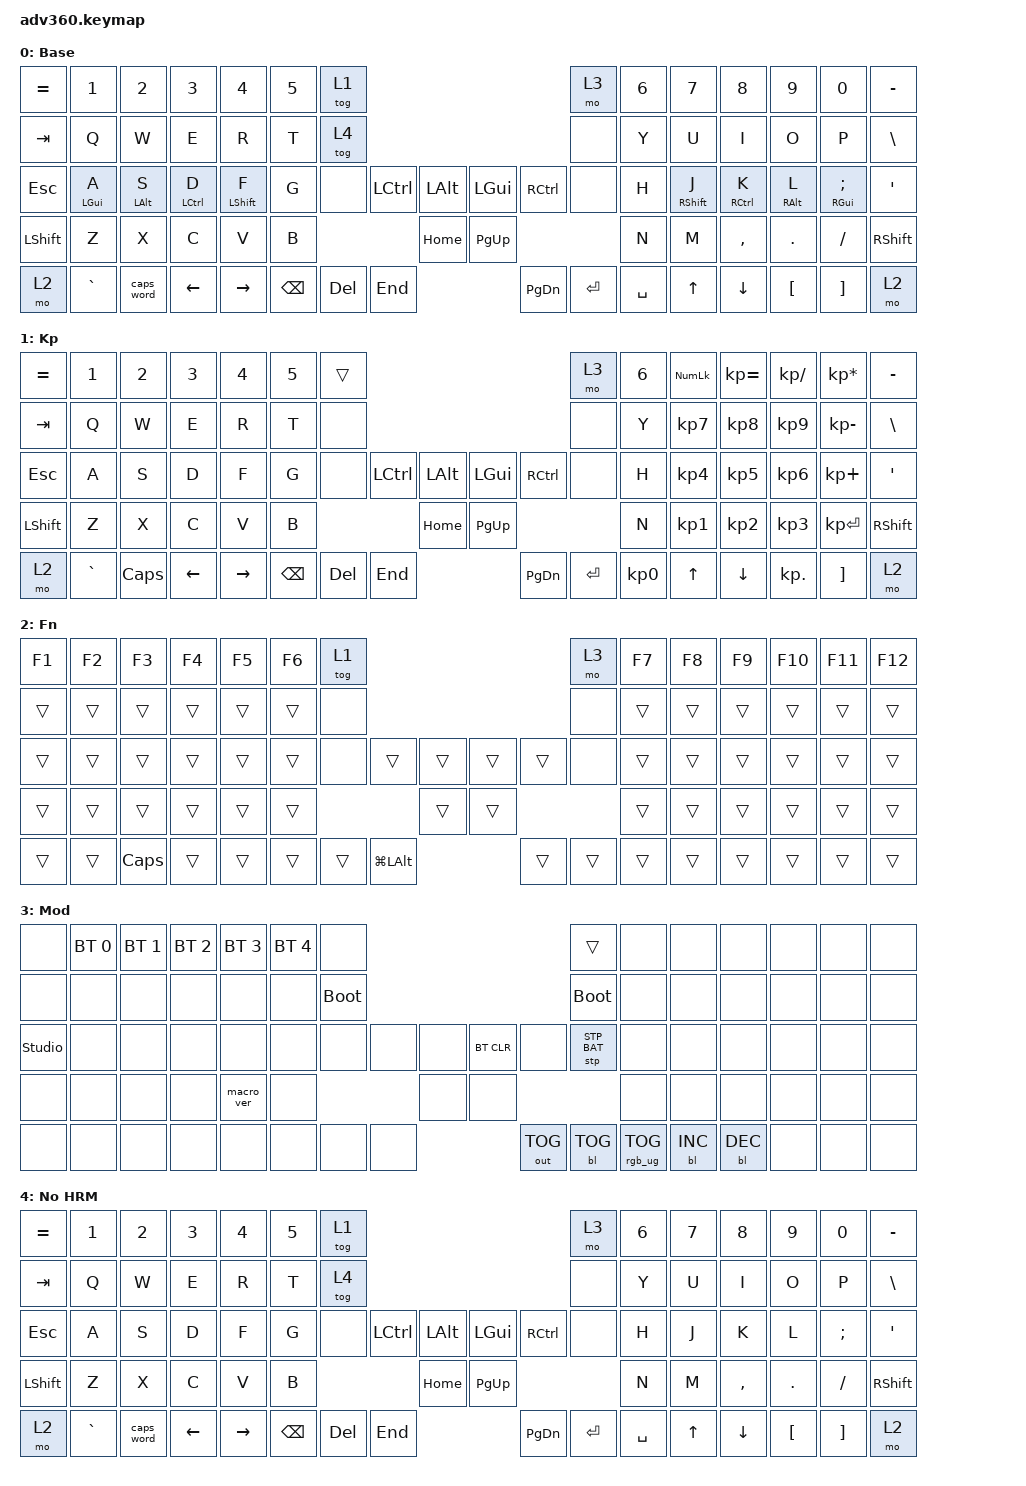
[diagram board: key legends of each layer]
#include <behaviors.dtsi>
#include <dt-bindings/zmk/keys.h>
#include <dt-bindings/zmk/bt.h>
#include <dt-bindings/zmk/rgb.h>
#include <dt-bindings/zmk/stp.h>
#include <dt-bindings/zmk/backlight.h>
#include <dt-bindings/zmk/pointing.h>
#include <dt-bindings/zmk/outputs.h>

#include "adv360_keys.h"

/ {
    behaviors {
      #include "macros.dtsi"
      #include "version.dtsi"

      hm: homerow_mods {
          compatible = "zmk,behavior-hold-tap";
          label = "HOMEROW_MODS";
          #binding-cells = <2>;
          tapping-term-ms = <200>;
          quick_tap_ms = <175>;
          flavor = "tap-preferred";
          bindings = <&kp>, <&kp>;
      };

      hml: homerow_mods_left {
          compatible = "zmk,behavior-hold-tap";
          display-name = "Home Row Mod L";
          #binding-cells = <2>;
          flavor = "balanced";
          tapping-term-ms = <300>;
          quick-tap-ms = <175>;
          require-prior-idle-ms = <150>;
          hold-trigger-key-positions = <RIGHT_KEYS THUMB_KEYS>;
          hold-trigger-on-release;
          bindings = <&kp>, <&kp>;
      };

      hmr: homerow_mods_right {
          compatible = "zmk,behavior-hold-tap";
          display-name = "Home Row Mod R";
          #binding-cells = <2>;
          flavor = "balanced";
          tapping-term-ms = <300>;
          quick-tap-ms = <175>;
          require-prior-idle-ms = <150>;
          hold-trigger-key-positions = <LEFT_KEYS THUMB_KEYS>;
          hold-trigger-on-release;
          bindings = <&kp>, <&kp>;
      };
    };

  keymap {
    compatible = "zmk,keymap";

    default_layer {
      display-name = "Base";
      bindings = <
        &kp EQUAL &kp N1      &kp N2      &kp N3       &kp N4       &kp N5 &tog 1                                                                    &mo 3 &kp N6 &kp N7       &kp N8       &kp N9      &kp N0         &kp MINUS
        &kp TAB   &kp Q       &kp W       &kp E        &kp R        &kp T  &tog 4                                                                    &none &kp Y  &kp U        &kp I        &kp O       &kp P          &kp BSLH
        &kp ESC   &hml LGUI A &hml LALT S &hml LCTRL D &hml LSHFT F &kp G  &none              &kp LCTRL &kp LALT    &kp LGUI  &kp RCTRL              &none &kp H  &hmr RSHFT J &hmr RCTRL K &hmr RALT L &hmr RGUI SEMI &kp SQT
        &kp LSHFT &kp Z       &kp X       &kp C        &kp V        &kp B                               &kp HOME    &kp PG_UP                              &kp N  &kp M        &kp COMMA    &kp DOT     &kp FSLH       &kp RSHFT
        &mo 2     &kp GRAVE   &caps_word  &kp LEFT     &kp RIGHT                     &kp BSPC &kp DEL   &kp END     &kp PG_DN &kp ENTER &kp SPACE                 &kp UP       &kp DOWN     &kp LBKT    &kp RBKT       &mo 2
      >;
    };
    keypad {
      display-name = "Kp";
      bindings = <
        &kp EQUAL &kp N1    &kp N2   &kp N3   &kp N4     &kp N5 &trans                                                           &mo 3 &kp N6 &kp KP_NUM &kp KP_EQUAL &kp KP_DIVIDE &kp KP_MULTIPLY &kp MINUS
        &kp TAB   &kp Q     &kp W    &kp E    &kp R      &kp T  &none                                                            &none &kp Y  &kp KP_N7  &kp KP_N8    &kp KP_N9     &kp KP_MINUS    &kp BSLH
        &kp ESC   &kp A     &kp S    &kp D    &kp F      &kp G  &none           &kp LCTRL &kp LALT &kp LGUI  &kp RCTRL           &none &kp H  &kp KP_N4  &kp KP_N5    &kp KP_N6     &kp KP_PLUS     &kp SQT
        &kp LSHFT &kp Z     &kp X    &kp C    &kp V      &kp B                            &kp HOME &kp PG_UP                           &kp N  &kp KP_N1  &kp KP_N2    &kp KP_N3     &kp KP_ENTER    &kp RSHFT
        &mo 2     &kp GRAVE &kp CAPS &kp LEFT &kp RIGHT                &kp BSPC &kp DEL   &kp END  &kp PG_DN &kp ENTER &kp KP_N0              &kp UP     &kp DOWN     &kp KP_DOT    &kp RBKT        &mo 2
      >;
    };
    fn {
      display-name = "Fn";
      bindings = <
        &kp F1 &kp F2 &kp F3   &kp F4 &kp F5 &kp F6 &tog 1                                                          &mo 3 &kp F7 &kp F8 &kp F9 &kp F10 &kp F11 &kp F12
        &trans &trans &trans   &trans &trans &trans &none                                                           &none &trans &trans &trans &trans  &trans  &trans
        &trans &trans &trans   &trans &trans &trans &none            &trans &trans          &trans &trans           &none &trans &trans &trans &trans  &trans  &trans
        &trans &trans &trans   &trans &trans &trans                         &trans          &trans                        &trans &trans &trans &trans  &trans  &trans
        &trans &trans &kp CAPS &trans &trans                  &trans &trans &kp LG(LALT)    &trans &trans &trans                 &trans &trans &trans  &trans  &trans
      >;
    };
    mod {
      display-name = "Mod";
      bindings = <
        &none          &bt BT_SEL 0 &bt BT_SEL 1 &bt BT_SEL 2 &bt BT_SEL 3 &bt BT_SEL 4 &none                                                                          &trans       &none &none      &none      &none &none &none
        &none          &none        &none        &none        &none        &none        &bootloader                                                                    &bootloader  &none &none      &none      &none &none &none
        &studio_unlock &none        &none        &none        &none        &none        &none                &none &none    &bt BT_CLR   &none                         &stp STP_BAT &none &none      &none      &none &none &none
        &none          &none        &none        &none        &macro_ver   &none                                   &none    &none                                                   &none &none      &none      &none &none &none
        &none          &none        &none        &none        &none                                    &none &none &none    &out OUT_TOG &bl BL_TOG &rgb_ug RGB_TOG                       &bl BL_INC &bl BL_DEC &none &none &none
      >;
    };
    extra1 {
      display-name = "No HRM";
      bindings = <
        &kp EQUAL &kp N1    &kp N2     &kp N3   &kp N4    &kp N5 &tog 1                                                                    &mo 3 &kp N6 &kp N7 &kp N8    &kp N9   &kp N0   &kp MINUS
        &kp TAB   &kp Q     &kp W      &kp E    &kp R     &kp T  &tog 4                                                                    &none &kp Y  &kp U  &kp I     &kp O    &kp P    &kp BSLH
        &kp ESC   &kp A     &kp S      &kp D    &kp F     &kp G  &none              &kp LCTRL &kp LALT    &kp LGUI  &kp RCTRL              &none &kp H  &kp J  &kp K     &kp L    &kp SEMI &kp SQT
        &kp LSHFT &kp Z     &kp X      &kp C    &kp V     &kp B                               &kp HOME    &kp PG_UP                              &kp N  &kp M  &kp COMMA &kp DOT  &kp FSLH &kp RSHFT
        &mo 2     &kp GRAVE &caps_word &kp LEFT &kp RIGHT                  &kp BSPC &kp DEL   &kp END     &kp PG_DN &kp ENTER &kp SPACE                 &kp UP &kp DOWN  &kp LBKT &kp RBKT &mo 2
      >;
    };

    extra2 { 
      display-name = "Purple";    
      status = "reserved";
    };

    extra3 { 
      display-name = "Cyan";    
      status = "reserved";
    };

    extra4 { 
      display-name = "Yellow";    
      status = "reserved";
    };
  };
};
